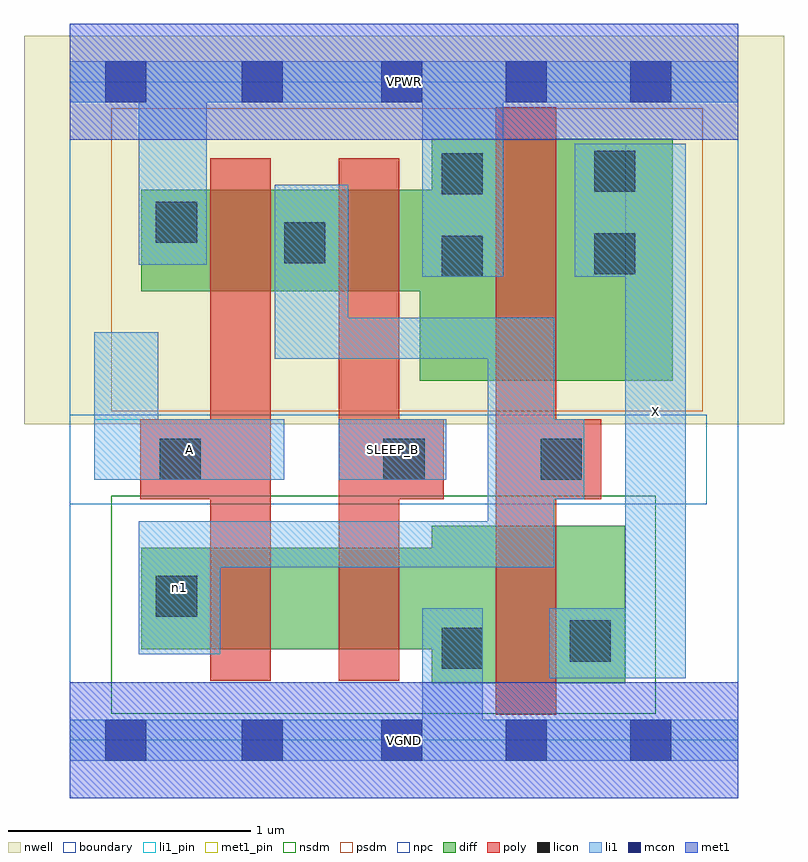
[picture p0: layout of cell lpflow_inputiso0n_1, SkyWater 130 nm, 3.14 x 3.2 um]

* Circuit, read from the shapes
.subckt lpflow_inputiso0n_1 A SLEEP_B VGND VPWR X n1
XM1 n2 A n1 VSUBS sky130_fd_pr__nfet_01v8 w=0.42 l=0.25
XM2 VGND SLEEP_B n2 VSUBS sky130_fd_pr__nfet_01v8 w=0.42 l=0.25
XM3 X n1 VGND VSUBS sky130_fd_pr__nfet_01v8 w=0.65 l=0.25
XM4 n1 A VPWR n3 sky130_fd_pr__pfet_01v8 w=0.42 l=0.25
XM5 VPWR SLEEP_B n1 n3 sky130_fd_pr__pfet_01v8 w=0.42 l=0.25
XM6 X n1 VPWR n3 sky130_fd_pr__pfet_01v8 w=1 l=0.25
.ends

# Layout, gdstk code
import gdstk
lib = gdstk.Library(unit=1e-6, precision=1e-09)
def R(c, l, rs):  # rectangles x0, y0, x1, y1
    for r in rs: c.add(gdstk.rectangle(r[:2], r[2:], *l))
def A(c, l, x, y, w, h, nx, ny, dx, dy):  # array of equal rectangles
    R(c, l, [(x+i*dx, y+j*dy, x+i*dx+w, y+j*dy+h) for i in range(nx) for j in range(ny)])
nwell = (64, 20)
diff = (65, 20)
poly = (66, 20)
licon = (66, 44)
li1_pin = (67, 16)
li1 = (67, 20)
mcon = (67, 44)
met1_pin = (68, 16)
met1 = (68, 20)
nsdm = (93, 44)
psdm = (94, 20)
npc = (95, 20)
boundary = (235, 4)

lpflow_inputiso0n_1 = lib.new_cell('lpflow_inputiso0n_1')
R(lpflow_inputiso0n_1, nwell, [(-0.19,1.305,2.95,2.91), (0,1.305,2.76,2.91)])
R(lpflow_inputiso0n_1, diff, [(1.495,0.235,2.295,0.885), (0.295,0.375,2.295,0.795), (1.445,1.485,2.49,2.275), (1.495,1.485,2.49,2.485), (0.295,1.855,2.49,2.275)])
R(lpflow_inputiso0n_1, poly, [(1.76,0.105,2.01,2.615), (0.58,0.245,0.83,2.405), (1.11,0.245,1.36,2.405), (0.29,0.995,0.83,1.325), (1.11,0.995,1.545,1.325), (1.76,0.995,2.195,1.325)])
R(lpflow_inputiso0n_1, licon, [(1.535,0.295,1.705,0.465), (2.065,0.325,2.235,0.495), (0.355,0.51,0.525,0.68), (0.37,1.075,0.54,1.245), (1.295,1.075,1.465,1.245), (1.945,1.075,2.115,1.245), (1.535,1.915,1.705,2.085), (2.165,1.925,2.335,2.095), (0.885,1.97,1.055,2.14), (0.355,2.055,0.525,2.225), (1.535,2.255,1.705,2.425), (2.165,2.265,2.335,2.435)])
R(lpflow_inputiso0n_1, li1_pin, [(2.295,0.255,2.545,2.465), (0.1,1.075,0.885,1.325), (1.11,1.075,1.555,1.325)])
R(lpflow_inputiso0n_1, li1, [(0,-0.085,2.76,0.085), (1.455,-0.085,1.705,0.545), (1.98,0.255,2.545,0.545), (2.295,0.255,2.545,2.465), (0.285,0.355,0.62,0.905), (0.285,0.715,2,0.905), (1.725,0.715,2,1.745), (1.725,0.995,2.125,1.325), (0.1,1.075,0.885,1.325), (0.1,1.075,0.365,1.685), (1.11,1.075,1.555,1.325), (0.845,1.575,1.15,2.295), (0.845,1.575,2,1.745), (1.455,1.915,1.79,2.805), (2.085,1.915,2.545,2.465), (0.285,1.965,0.565,2.805), (0,2.635,2.76,2.805)])
A(lpflow_inputiso0n_1, mcon, 1.285, -0.085, 0.17, 0.17, 3, 2, 0.515, 2.72)
R(lpflow_inputiso0n_1, mcon, [(0.145,-0.085,0.315,0.085), (0.71,-0.085,0.88,0.085), (0.145,2.635,0.315,2.805), (0.71,2.635,0.88,2.805)])
R(lpflow_inputiso0n_1, met1_pin, [(0,-0.24,2.76,0.24), (0,2.48,2.76,2.96)])
R(lpflow_inputiso0n_1, met1, [(0,-0.24,2.76,0.24), (0,2.48,2.76,2.96)])
R(lpflow_inputiso0n_1, nsdm, [(0.17,0.11,2.42,1.01)])
R(lpflow_inputiso0n_1, psdm, [(0.17,1.36,2.615,2.61)])
R(lpflow_inputiso0n_1, npc, [(0,0.975,2.63,1.345)])
R(lpflow_inputiso0n_1, boundary, [(0,0,2.76,2.72)])
lpflow_inputiso0n_1.add(gdstk.Label('A', (0.492,1.2), layer=67, texttype=5))
lpflow_inputiso0n_1.add(gdstk.Label('SLEEP_B', (1.332,1.2), layer=67, texttype=5))
lpflow_inputiso0n_1.add(gdstk.Label('X', (2.42,1.36), layer=67, texttype=5))
lpflow_inputiso0n_1.add(gdstk.Label('n1', (0.452,0.63), layer=67, texttype=5))
lpflow_inputiso0n_1.add(gdstk.Label('VPWR', (1.38,2.72), layer=68, texttype=5))
lpflow_inputiso0n_1.add(gdstk.Label('VGND', (1.38,0), layer=68, texttype=5))
lpflow_inputiso0n_1.add(gdstk.Label('A', (0.492,1.2), layer=67, texttype=16))
lpflow_inputiso0n_1.add(gdstk.Label('SLEEP_B', (1.332,1.2), layer=67, texttype=16))
lpflow_inputiso0n_1.add(gdstk.Label('X', (2.42,1.36), layer=67, texttype=16))
lpflow_inputiso0n_1.add(gdstk.Label('VPWR', (1.38,2.72), layer=68, texttype=16))
lpflow_inputiso0n_1.add(gdstk.Label('VGND', (1.38,0), layer=68, texttype=16))

lib.write_gds('lpflow_inputiso0n_1.gds')
